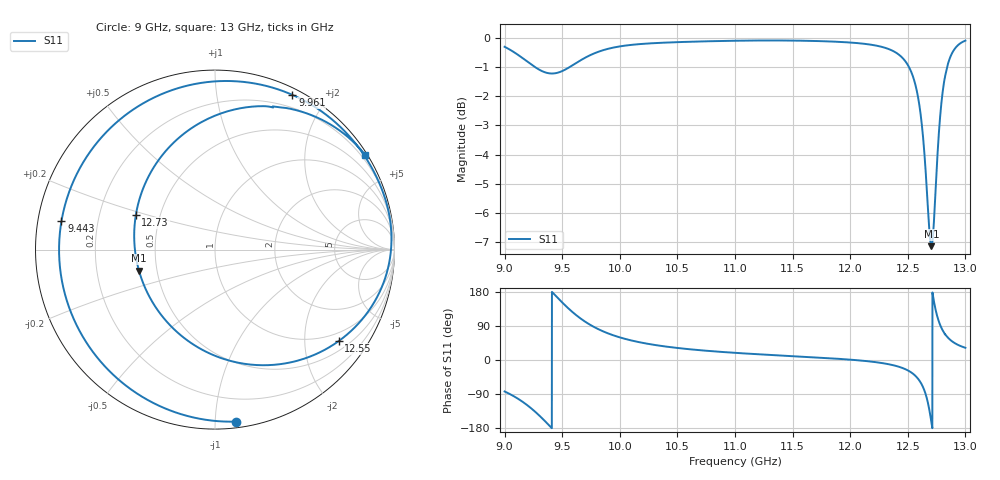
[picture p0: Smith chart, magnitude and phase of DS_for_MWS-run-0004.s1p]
! TOUCHSTONE file generated by CST DESIGN STUDIO
! Date and time: Tue Feb  4 14:17:27 2025
! Project name: C:\Work\MatlabApps\UnitCellOptimizationMatlab\CST\unitcell.cst
! Tree item: Tasks\Sweep1\SPara1\S-Parameters
! Header version: 2024
! Port assignment regex: !\s*Touchstone port\s*([0-9]+)\s*=\s*(CST MWS port|CST DES external port|CST DES block port)\s*(.+)\s* \(\"(.*)\"\)(\s*mode\s*([0-9]+))?.*
! Touchstone port assignment:
! Touchstone port 1 = CST DES external port 1 ("")
# GHz S MA R 50
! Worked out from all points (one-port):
!   4001 points, 9 GHz to 13 GHz, reference 50 ohm
!   lowest |S11| = -7.1 dB at 12.71 GHz (marker M1), VSWR 2.57, Z = 19.8 - j5.79 ohm
!   |S11| at or under -10 dB: nowhere
!   S11 on the Smith chart (normalised r, x): 9 GHz: 0.04, -1.13; 9.443 GHz: 0.07, +0.09; 9.961 GHz: 0.07, +1.62; 12.55 GHz: 0.74, -2.86; 12.73 GHz: 0.36, +0.18; 13 GHz: 0.07, +3.46
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9  0.9655 -83.0
9.121  0.9339 -103.2
9.223  0.9029 -125.6
9.344  0.8739 -159.3
9.443  0.87 169.6
9.5  0.8773 151.8
9.594  0.8987 125.3
9.69  0.9226 103.0
9.824  0.9483 79.8
9.961  0.964 63.4
10  0.967 59.7
10.214  0.9772 44.3
10.5  0.9834 31.7
11  0.9888 18.9
11.5  0.9895 10.1
12  0.9819 0.9
12.305  0.9614 -9.5
12.5  0.8987 -27.4
12.546  0.8573 -36.4
12.598  0.7724 -53.1
12.644  0.6344 -80.3
12.674  0.5132 -112.0
12.705  0.4396 -164.4
12.726  0.4813 156.4
12.764  0.6604 106.7
12.804  0.8118 77.6
12.885  0.9421 49.1
13  0.9893 32.2
